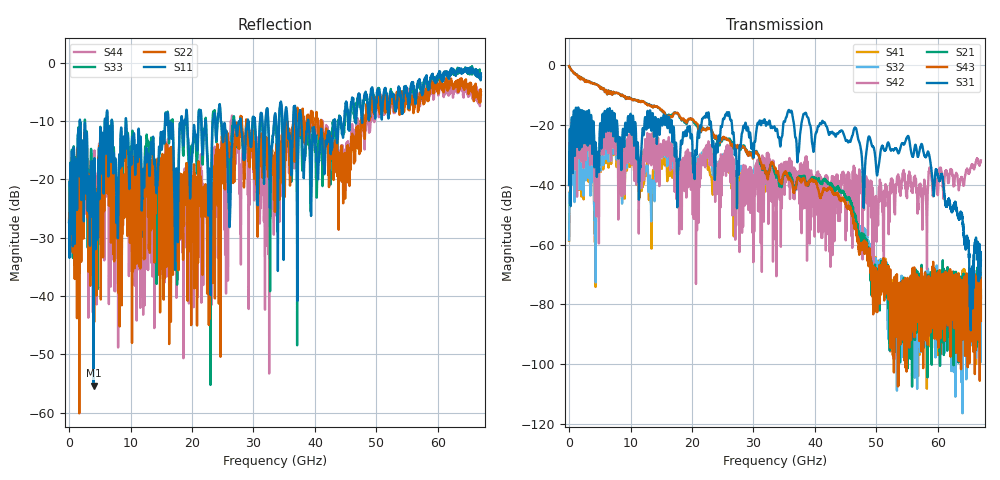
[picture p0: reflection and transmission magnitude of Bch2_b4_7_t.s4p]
!Agilent Technologies,N5247A,US51170199,A.09.90.13
!Agilent N5247A: A.09.90.13
!Date: Tuesday, October 23, 2018 10:25:15
!Correction: S11(Full 4 Port(1,2,3,4))
!S12(Full 4 Port(1,2,3,4))
!S13(Full 4 Port(1,2,3,4))
!S14(Full 4 Port(1,2,3,4))
!S21(Full 4 Port(1,2,3,4))
!S22(Full 4 Port(1,2,3,4))
!S23(Full 4 Port(1,2,3,4))
!S24(Full 4 Port(1,2,3,4))
!S31(Full 4 Port(1,2,3,4))
!S32(Full 4 Port(1,2,3,4))
!S33(Full 4 Port(1,2,3,4))
!S34(Full 4 Port(1,2,3,4))
!S41(Full 4 Port(1,2,3,4))
!S42(Full 4 Port(1,2,3,4))
!S43(Full 4 Port(1,2,3,4))
!S44(Full 4 Port(1,2,3,4))
!S4P File: Measurements: <S11,S12,S13,S14>,
!<S21,S22,S23,S24>,
!<S31,S32,S33,S34>,
!<S41,S42,S43,S44>:
# Hz S  dB  R 50
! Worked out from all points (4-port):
!   6701 points, 10 MHz to 67 GHz, reference 50 ohm
!   strongest paths, dB at 10 MHz, 16.76 GHz, 33.51 GHz, 50.25 GHz, 67 GHz:
!     S31: -40.0, -23.0, -21.2, -35.2, -65.1
!     S43: -0.4, -17.1, -34.6, -74.7, -85.5
!     S21: -0.4, -16.5, -36.1, -75.4, -75.2
!     S42: -40.2, -31.0, -46.5, -52.1, -31.8
!     S32: -58.5, -33.5, -38.2, -68.4, -75.1
!     S41: -58.7, -37.1, -40.9, -69.1, -77.8
!   lowest |S11| = -55.4 dB at 3.979 GHz (marker M1), VSWR 1.00, Z = 50 - j0.168 ohm
!   |S11| at or under -10 dB: 1.783 GHz to 5.808 GHz (4.025 GHz wide, 106 % of centre); 9.285 GHz to 15.62 GHz (6.336 GHz wide, 50.9 % of centre); 38.91 GHz to 43.08 GHz (4.166 GHz wide, 10.2 % of centre)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
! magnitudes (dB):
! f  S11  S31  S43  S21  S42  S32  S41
! 10 MHz  -27.4  -40.0  -0.4  -0.4  -40.2  -58.5  -58.7
! 1.63 GHz  -19.3  -23.1  -3.7  -3.7  -26.8  -41.4  -41.7
! 3.979 GHz  -55.4  -19.2  -6.3  -6.2  -23.9  -34.3  -34.4
! 6.019 GHz  -15.4  -22.3  -8.3  -8.4  -27.3  -31.2  -32.4
! 44 GHz  -9.4  -22.2  -44.6  -41.8  -41.7  -41.3  -44.0
! 55.07 GHz  -5.4  -23.9  -71.1  -84.7  -40.9  -79.4  -79.6
! 67 GHz  -1.9  -65.1  -85.5  -75.2  -31.8  -75.1  -77.8
